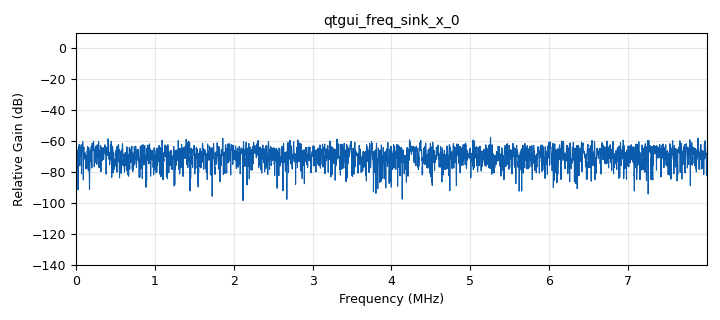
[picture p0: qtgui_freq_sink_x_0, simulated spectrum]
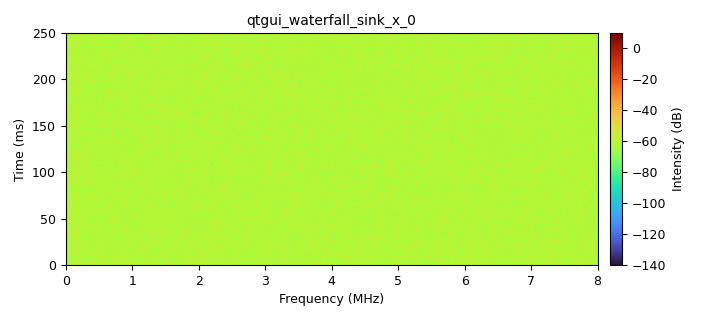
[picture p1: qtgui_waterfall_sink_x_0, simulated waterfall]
options:
  parameters:
    author: Muthanna A. Alwahash
    copyright: '2021'
    generate_options: qt_gui
    id: noise_wf
    output_language: python
    title: Noise Waterfall
  states: {}

blocks:
- name: amp
  id: variable
  parameters:
    value: '0.1'
  states: {}
- name: bandwidth
  id: variable
  parameters:
    value: '8000000'
  states: {}
- name: center_freq
  id: variable
  parameters:
    value: bandwidth/2
  states: {}
- name: freq
  id: variable
  parameters:
    value: '1000000'
  states: {}
- name: ftt_size
  id: variable
  parameters:
    value: '4096'
  states: {}
- name: samp_rate
  id: variable
  parameters:
    value: '4096'
  states: {}
- name: analog_fastnoise_source_x_0
  id: analog_fastnoise_source_x
  parameters:
    amp: amp
    noise_type: analog.GR_UNIFORM
    samples: '8192'
    seed: '0'
    type: complex
  states: {}
- name: qtgui_freq_sink_x_0
  id: qtgui_freq_sink_x
  parameters:
    bw: bandwidth
    color1: '"green"'
    fc: center_freq
    fftsize: ftt_size
    gui_hint: 0,0
    legend: 'False'
    name: ''
    type: complex
    wintype: firdes.WIN_BLACKMAN_hARRIS
  states: {}
- name: qtgui_waterfall_sink_x_0
  id: qtgui_waterfall_sink_x
  parameters:
    bw: bandwidth
    fc: center_freq
    fftsize: ftt_size
    grid: 'True'
    gui_hint: 1,0
    legend: 'False'
    name: ''
    type: complex
    wintype: firdes.WIN_HAMMING
  states: {}

connections:
- [analog_fastnoise_source_x_0, '0', qtgui_freq_sink_x_0, '0']
- [analog_fastnoise_source_x_0, '0', qtgui_waterfall_sink_x_0, '0']

metadata:
  file_format: 1
